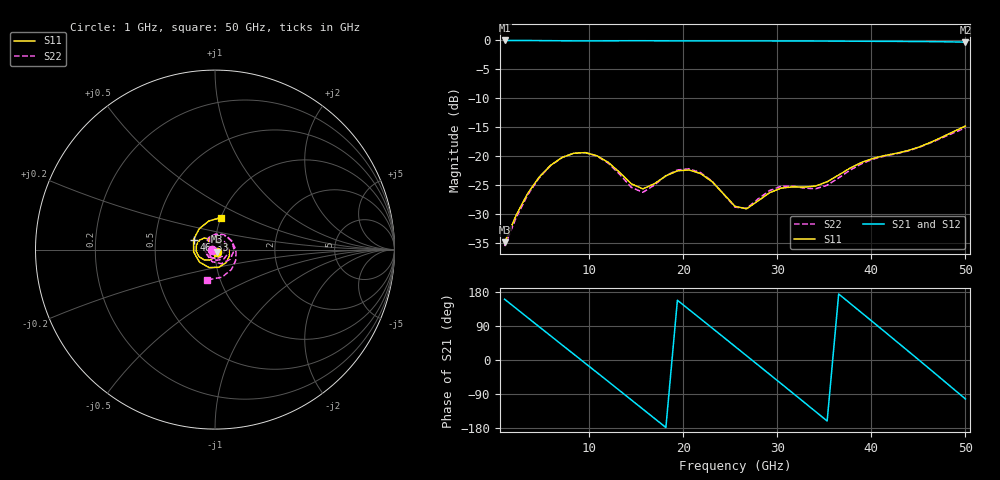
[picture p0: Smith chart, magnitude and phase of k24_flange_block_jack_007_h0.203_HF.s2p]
! Generated by Hertzon (EMerge FEM)
# HZ S RI R 50.9413
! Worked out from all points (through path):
!   41 points, 1 GHz to 50 GHz, reference 50.9413 ohm
!   highest |S21| = -0.01 dB at 1 GHz (marker M1); lowest = -0.3 dB at 50 GHz (marker M2)
!   lowest |S11| = -35.0 dB at 1 GHz (marker M3), VSWR 1.04, Z = 52.3 - j1.28 ohm
!   |S11| at or under -10 dB: start of sweep to end of sweep
!   |S22| runs from -35.6 to -15.1 dB; largest |S21 - S12| = 0.004
!   S11 on the Smith chart (normalised r, x): 1 GHz: 1.03, -0.03; 46.33 GHz: 0.78, +0.09; 50 GHz: 1.00, +0.37
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1e9  0.0129 -0.0122  -0.9399 0.337  -0.9397 0.338  -0.0164 -0.00254
4.675e9  -0.0297 -0.0584  0.0387 0.9948  0.0399 0.9946  -0.025 0.0595
7.125e9  -0.0885 -0.0399  0.765 0.6314  0.7659 0.6305  0.0555 0.0795
9.575e9  -0.1036 0.0257  0.979 -0.1482  0.9789 -0.1496  0.1066 -0.00478
1.325e10  -0.0385 0.0606  0.1545 -0.9801  0.1533 -0.9803  -0.0157 -0.0672
1.57e10  -0.0304 0.042  -0.6323 -0.7653  -0.6333 -0.7644  -0.0427 0.0228
1.815e10  -0.0375 0.0557  -0.9906 -0.0325  -0.9906 -0.031  0.0377 0.0559
2.1825e10  0.00916 0.0698  -0.3228 0.9356  -0.3212 0.9362  0.0499 -0.0516
2.305e10  0.0211 0.0561  0.0917 0.9858  0.0934 0.9857  0.00945 -0.0598
2.55e10  0.016 0.0329  0.8031 0.5797  0.8041 0.5783  -0.0359 -0.00337
2.795e10  0.00835 0.0399  0.9634 -0.2256  0.963 -0.2275  0.0125 0.0404
3.04e10  0.025 0.0462  0.4598 -0.8747  0.4579 -0.8757  0.0542 -0.00558
3.1625e10  0.0343 0.0417  0.0539 -0.9862  0.0517 -0.9863  0.0401 -0.0373
3.4075e10  0.0454 0.0308  -0.7126 -0.6826  -0.7142 -0.6809  -0.0305 -0.042
3.6525e10  0.0661 0.0173  -0.98 0.0995  -0.9798 0.102  -0.0563 0.0315
3.775e10  0.0785 -0.00322  -0.8465 0.5015  -0.8452 0.5038  -0.0347 0.067
4.02e10  0.0623 -0.0722  -0.1625 0.9682  -0.1597 0.9686  0.0394 0.0851
4.265e10  -0.0337 -0.0999  0.637 0.7445  0.6394 0.7425  0.094 0.0455
4.51e10  -0.1188 -0.0133  0.9771 -0.0165  0.9771 -0.0198  0.1173 -0.0176
4.6325e10  -0.1195 0.0546  0.8742 -0.4323  0.8728 -0.4353  0.1151 -0.0606
4.8775e10  -0.0343 0.1592  0.2145 -0.9455  0.2106 -0.9462  0.039 -0.1537
5e10  0.0328 0.1783  -0.213 -0.9417  -0.2166 -0.9409  -0.0441 -0.1693
